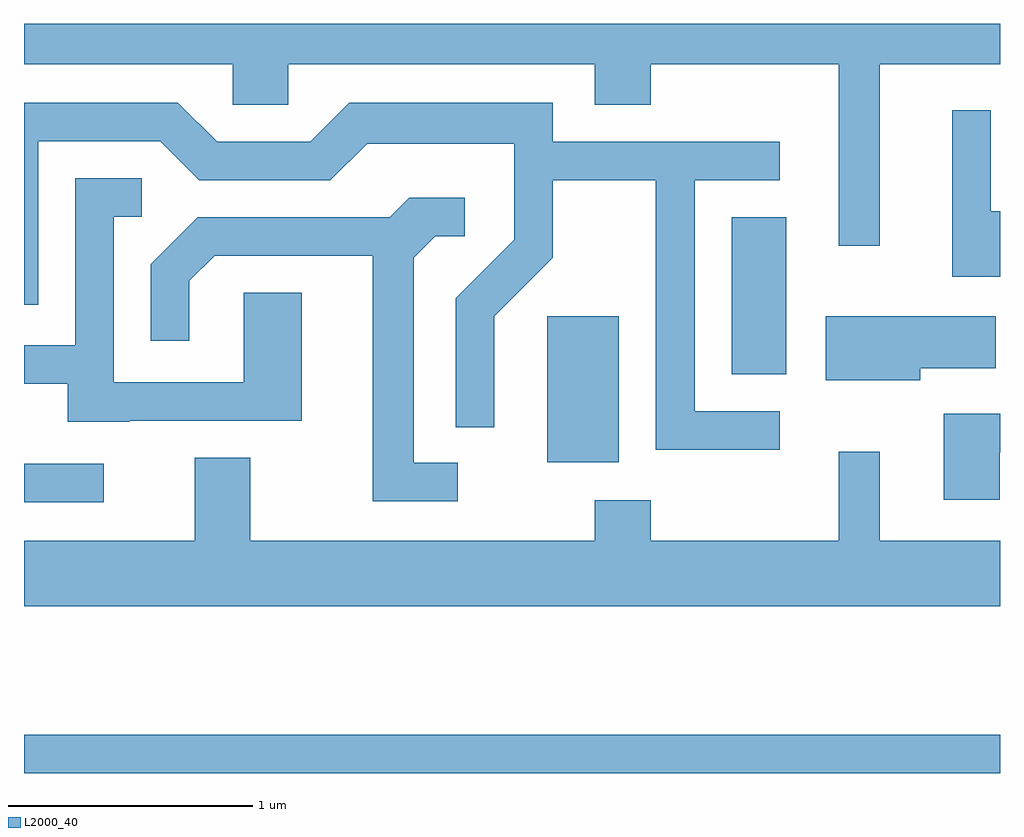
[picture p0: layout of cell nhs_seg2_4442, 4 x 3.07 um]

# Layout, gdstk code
import gdstk
lib = gdstk.Library(unit=1e-6, precision=1e-09)
def R(c, l, rs):  # rectangles x0, y0, x1, y1
    for r in rs: c.add(gdstk.rectangle(r[:2], r[2:], *l))
def P(c, l, *ps):  # polygons
    for p in ps: c.add(gdstk.Polygon(p, *l))
L2000_40 = (2000, 40)

nhs_seg2_4442 = lib.new_cell('nhs_seg2_4442')
R(nhs_seg2_4442, L2000_40, [(315.611,1058.731,319.611,1058.889), (315.611,1059.841,315.938,1059.999), (317.756,1060.006,318.049,1060.604), (318.511,1060.366,318.734,1061.009)])
P(nhs_seg2_4442, L2000_40, [(319.119,1061.636),(319.611,1061.636),(319.611,1061.802),(315.611,1061.802),(315.611,1061.636),(316.466,1061.636),(316.466,1061.471),(316.694,1061.471),(316.694,1061.636),(317.951,1061.636),(317.951,1061.471),(318.179,1061.471),(318.179,1061.636),(318.951,1061.636),(318.951,1060.893),(319.119,1060.893)],
  [(318.708,1060.214),(318.359,1060.214),(318.359,1061.161),(318.708,1061.161),(318.708,1061.319),(317.779,1061.319),(317.779,1061.479),(316.944,1061.479),(316.784,1061.319),(316.402,1061.319),(316.242,1061.479),(315.611,1061.479),(315.611,1060.651),(315.669,1060.651),(315.669,1061.321),(316.169,1061.321),(316.329,1061.161),(316.867,1061.161),(317.017,1061.311),(317.621,1061.311),(317.621,1060.917),(317.381,1060.677),(317.381,1060.148),(317.539,1060.148),(317.539,1060.604),(317.779,1060.844),(317.779,1061.161),(318.201,1061.161),(318.201,1060.056),(318.708,1060.056)],
  [(319.611,1061.034),(319.574,1061.034),(319.574,1061.448),(319.416,1061.448),(319.416,1060.766),(319.611,1060.766)],
  [(316.045,1060.176),(316.749,1060.176),(316.749,1060.699),(316.511,1060.699),(316.511,1060.334),(315.979,1060.334),(315.979,1061.011),(316.093,1061.011),(316.093,1061.169),(315.821,1061.169),(315.821,1060.484),(315.611,1060.484),(315.611,1060.326),(315.791,1060.326),(315.791,1060.171),(316.045,1060.171)],
  [(317.388,1060.004),(317.209,1060.004),(317.209,1060.844),(317.297,1060.931),(317.418,1060.931),(317.418,1061.089),(317.189,1061.089),(317.109,1061.009),(316.324,1061.009),(316.131,1060.817),(316.131,1060.503),(316.289,1060.503),(316.289,1060.749),(316.392,1060.851),(317.041,1060.851),(317.041,1059.846),(317.388,1059.846)],
  [(319.284,1060.391),(319.594,1060.391),(319.594,1060.604),(318.896,1060.604),(318.896,1060.341),(319.284,1060.341)],
  [(319.609,1060.046),(319.611,1060.046),(319.611,1060.204),(319.381,1060.204),(319.381,1059.851),(319.609,1059.851)],
  [(319.611,1059.684),(319.119,1059.684),(319.119,1060.048),(318.951,1060.048),(318.951,1059.684),(318.179,1059.684),(318.179,1059.849),(317.951,1059.849),(317.951,1059.684),(316.539,1059.684),(316.539,1060.024),(316.311,1060.024),(316.311,1059.684),(315.611,1059.684),(315.611,1059.416),(319.611,1059.416)])

lib.write_gds('nhs_seg2_4442.gds')
